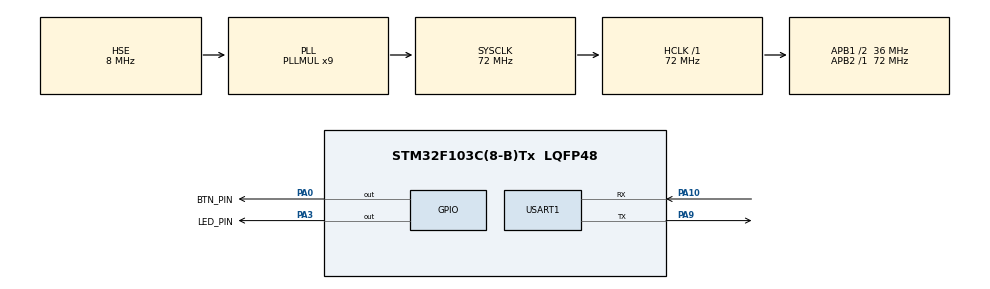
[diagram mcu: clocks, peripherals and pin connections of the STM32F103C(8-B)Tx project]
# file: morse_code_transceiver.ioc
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Mcu.Family=STM32F1
Mcu.Name=STM32F103C(8-B)Tx
Mcu.Package=LQFP48
NVIC.PriorityGroup=NVIC_PRIORITYGROUP_4
PA0-WKUP.GPIO_Label=BTN_PIN
PA0-WKUP.Signal=GPIO_Output
PA10.Mode=Asynchronous
PA10.Signal=USART1_RX
PA13.Mode=Serial_Wire
PA13.Signal=SYS_JTMS-SWDIO
PA14.Mode=Serial_Wire
PA14.Signal=SYS_JTCK-SWCLK
PA3.GPIO_Label=LED_PIN
PA3.Signal=GPIO_Output
PA9.Mode=Asynchronous
PA9.Signal=USART1_TX
PD0-OSC_IN.Mode=HSE-External-Oscillator
PD0-OSC_IN.Signal=RCC_OSC_IN
PD1-OSC_OUT.Mode=HSE-External-Oscillator
PD1-OSC_OUT.Signal=RCC_OSC_OUT
ProjectManager.HeapSize=0x200
ProjectManager.StackSize=0x400
ProjectManager.TargetToolchain=STM32CubeIDE
RCC.AHBFreq_Value=72000000
RCC.APB1CLKDivider=RCC_HCLK_DIV2
RCC.APB1Freq_Value=36000000
RCC.APB1TimFreq_Value=72000000
RCC.APB2Freq_Value=72000000
RCC.APB2TimFreq_Value=72000000
RCC.HCLKFreq_Value=72000000
RCC.PLLMUL=RCC_PLL_MUL9
RCC.PLLSourceVirtual=RCC_PLLSOURCE_HSE
RCC.SYSCLKFreq_VALUE=72000000
RCC.SYSCLKSource=RCC_SYSCLKSOURCE_PLLCLK
RCC.USBFreq_Value=72000000
USART1.VirtualMode=VM_ASYNC
board=custom

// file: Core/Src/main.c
/* USER CODE BEGIN Header */
/**
  * @brief : ITU Morse Decoder (Blocking/Synchronized Mode)
  * @note  : This version forces the CPU to wait for your hand movements.
  */
/* USER CODE END Header */

#include "main.h"
#include <string.h>
#include <stdio.h>

/* USER CODE BEGIN PD */
// --- SETTINGS ---
#define UNIT_TIME       200      // Speed Base
#define DOT_MAX         400      // Below 400ms = DOT
#define LETTER_TIMEOUT  2000     // Wait 2 SECONDS to finish a letter (S vs E)
#define WORD_TIMEOUT    4000     // Wait 4 SECONDS to add a Space

// --- HARDWARE ---
#define INPUT_PORT      GPIOA
#define INPUT_PIN       GPIO_PIN_0
#define LED_PORT        GPIOA
#define LED_PIN         GPIO_PIN_3
/* USER CODE END PD */

UART_HandleTypeDef huart1;

/* USER CODE BEGIN PV */
uint32_t last_release_time = 0;
char current_sequence[10];
int seq_index = 0;
uint8_t letter_finished = 1; // Flag to stop repeating letters
/* USER CODE END PV */

void SystemClock_Config(void);
static void MX_GPIO_Init(void);
static void MX_USART1_UART_Init(void);

/* USER CODE BEGIN 0 */
void UART_Print(char* str) {
    HAL_UART_Transmit(&huart1, (uint8_t*)str, strlen(str), 100);
}

// --- DECODER ---
const char* MORSE_MAP[] = {
    ".-",   "-...", "-.-.", "-..",  ".",    "..-.", "--.",  "....", "..",   ".---",
    "-.-",  ".-..", "--",   "-.",   "---",  ".--.", "--.-", ".-.",  "...",  "-",
    "..-",  "...-", ".--",  "-..-", "-.--", "--.."
};
const char ALPHABET[] = "ABCDEFGHIJKLMNOPQRSTUVWXYZ";

void Decode_And_Print() {
    // If buffer is empty, do nothing
    if (seq_index == 0) return;

    current_sequence[seq_index] = '\0'; // Seal string

    char detected_char = '?';
    for (int i = 0; i < 26; i++) {
        if (strcmp(current_sequence, MORSE_MAP[i]) == 0) {
            detected_char = ALPHABET[i];
            break;
        }
    }

    // Print the Letter
    char buff[2] = {detected_char, '\0'};
    UART_Print(buff);

    // Reset Buffer
    seq_index = 0;
    memset(current_sequence, 0, 10);
    letter_finished = 1; // Mark as done
}
/* USER CODE END 0 */

int main(void)
{
  HAL_Init();
  SystemClock_Config();
  MX_GPIO_Init();
  MX_USART1_UART_Init();

  /* USER CODE BEGIN 2 */
  UART_Print("\r\n=== SYNCHRONIZED DECODER ===\r\n");
  UART_Print("1. Tap the wire.\r\n");
  UART_Print("2. Wait 2 seconds to see the letter.\r\n");
  UART_Print("OUTPUT: ");

  last_release_time = HAL_GetTick();
  memset(current_sequence, 0, 10);
  /* USER CODE END 2 */

  while (1)
  {
      uint32_t now = HAL_GetTick();

      // --- 1. CHECK FOR PRESS (Active Low) ---
      if (HAL_GPIO_ReadPin(INPUT_PORT, INPUT_PIN) == GPIO_PIN_RESET) {

          // A. DEBOUNCE (Wait 50ms to confirm it's real)
          HAL_Delay(50);

          // B. IF STILL PRESSED, START MEASURING
          if (HAL_GPIO_ReadPin(INPUT_PORT, INPUT_PIN) == GPIO_PIN_RESET) {

              HAL_GPIO_WritePin(LED_PORT, LED_PIN, GPIO_PIN_SET); // LED ON
              uint32_t press_start = HAL_GetTick();

              // *** THE BLOCKING MAGIC ***
              // The code effectively "pauses" here as long as you hold the wire.
              // It cannot do anything else (like accidentally decode) until you let go.
              while (HAL_GPIO_ReadPin(INPUT_PORT, INPUT_PIN) == GPIO_PIN_RESET) {
                  // Just wait...
              }

              // C. BUTTON RELEASED
              uint32_t duration = HAL_GetTick() - press_start;
              HAL_GPIO_WritePin(LED_PORT, LED_PIN, GPIO_PIN_RESET); // LED OFF

              // D. STORE DOT OR DASH
              if (duration < DOT_MAX) {
                   if(seq_index < 9) current_sequence[seq_index++] = '.';
                   UART_Print("."); // Echo Dot
              } else {
                   if(seq_index < 9) current_sequence[seq_index++] = '-';
                   UART_Print("-"); // Echo Dash
              }

              // Reset Timers
              last_release_time = HAL_GetTick();
              letter_finished = 0; // We are building a new letter!
          }
      }

      // --- 2. CHECK FOR TIMEOUTS (Only if we aren't done yet) ---
      else {
          if (letter_finished == 0) {
              // If you have waited long enough (2 Seconds)...
              if ((now - last_release_time) > LETTER_TIMEOUT) {
                  Decode_And_Print();
                  // Note: letter_finished is set to 1 inside the function
              }
          }

          // Check for Space (4 Seconds)
          // We check 'seq_index == 0' to make sure we don't print space mid-letter
          if (seq_index == 0 && (now - last_release_time) > WORD_TIMEOUT) {
              if (letter_finished == 1) { // Only print space once
                  UART_Print(" ");
                  letter_finished = 2; // Set to 2 to prevent infinite spaces
              }
          }
      }
  }
}

// --- STANDARD INIT ---
void SystemClock_Config(void)
{
  RCC_OscInitTypeDef RCC_OscInitStruct = {0};
  RCC_ClkInitTypeDef RCC_ClkInitStruct = {0};
  RCC_OscInitStruct.OscillatorType = RCC_OSCILLATORTYPE_HSE;
  RCC_OscInitStruct.HSEState = RCC_HSE_ON;
  RCC_OscInitStruct.PLL.PLLState = RCC_PLL_ON;
  RCC_OscInitStruct.PLL.PLLSource = RCC_PLLSOURCE_HSE;
  RCC_OscInitStruct.PLL.PLLMUL = RCC_PLL_MUL9;
  HAL_RCC_OscConfig(&RCC_OscInitStruct);
  RCC_ClkInitStruct.ClockType = RCC_CLOCKTYPE_HCLK|RCC_CLOCKTYPE_SYSCLK|RCC_CLOCKTYPE_PCLK1|RCC_CLOCKTYPE_PCLK2;
  RCC_ClkInitStruct.SYSCLKSource = RCC_SYSCLKSOURCE_PLLCLK;
  RCC_ClkInitStruct.AHBCLKDivider = RCC_SYSCLK_DIV1;
  RCC_ClkInitStruct.APB1CLKDivider = RCC_HCLK_DIV2;
  RCC_ClkInitStruct.APB2CLKDivider = RCC_HCLK_DIV1;
  HAL_RCC_ClockConfig(&RCC_ClkInitStruct, FLASH_LATENCY_2);
}

static void MX_USART1_UART_Init(void)
{
  huart1.Instance = USART1;
  huart1.Init.BaudRate = 115200;
  huart1.Init.WordLength = UART_WORDLENGTH_8B;
  huart1.Init.StopBits = UART_STOPBITS_1;
  huart1.Init.Parity = UART_PARITY_NONE;
  huart1.Init.Mode = UART_MODE_TX_RX;
  huart1.Init.HwFlowCtl = UART_HWCONTROL_NONE;
  huart1.Init.OverSampling = UART_OVERSAMPLING_16;
  HAL_UART_Init(&huart1);
}

static void MX_GPIO_Init(void)
{
  GPIO_InitTypeDef GPIO_InitStruct = {0};
  __HAL_RCC_GPIOD_CLK_ENABLE();
  __HAL_RCC_GPIOA_CLK_ENABLE();

  HAL_GPIO_WritePin(LED_PORT, LED_PIN, GPIO_PIN_RESET);
  GPIO_InitStruct.Pin = LED_PIN;
  GPIO_InitStruct.Mode = GPIO_MODE_OUTPUT_PP;
  GPIO_InitStruct.Speed = GPIO_SPEED_FREQ_LOW;
  HAL_GPIO_Init(LED_PORT, &GPIO_InitStruct);

  GPIO_InitStruct.Pin = INPUT_PIN;
  GPIO_InitStruct.Mode = GPIO_MODE_INPUT;
  GPIO_InitStruct.Pull = GPIO_PULLUP;
  HAL_GPIO_Init(INPUT_PORT, &GPIO_InitStruct);
}

void Error_Handler(void) { __disable_irq(); while (1) {} }
